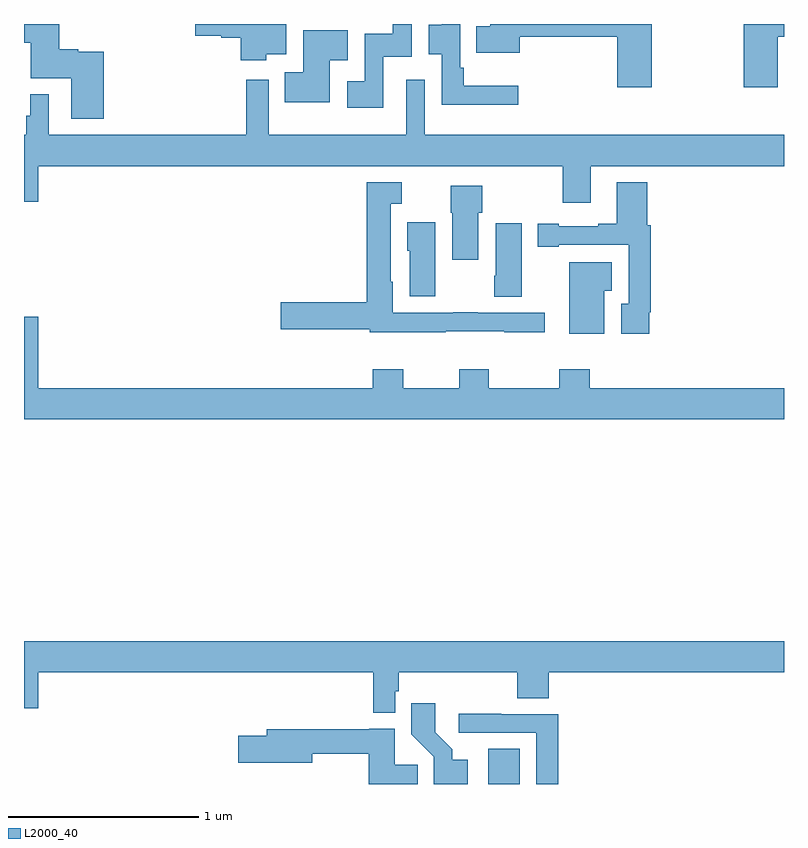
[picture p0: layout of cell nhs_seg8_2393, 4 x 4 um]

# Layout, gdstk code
import gdstk
lib = gdstk.Library(unit=1e-6, precision=1e-09)
def R(c, l, rs):  # rectangles x0, y0, x1, y1
    for r in rs: c.add(gdstk.rectangle(r[:2], r[2:], *l))
def P(c, l, *ps):  # polygons
    for p in ps: c.add(gdstk.Polygon(p, *l))
L2000_40 = (2000, 40)

nhs_seg8_2393 = lib.new_cell('nhs_seg8_2393')
R(nhs_seg8_2393, L2000_40, [(263.444,1127.9,263.608,1128.085)])
P(nhs_seg8_2393, L2000_40, [(264.305,1131.9),(263.453,1131.9),(263.453,1131.889),(263.38,1131.889),(263.38,1131.749),(263.608,1131.749),(263.608,1131.832),(264.122,1131.832),(264.122,1131.567),(264.305,1131.567)],
  [(261.419,1131.754),(261.285,1131.754),(261.285,1131.767),(261.185,1131.767),(261.185,1131.9),(261,1131.9),(261,1131.802),(261.035,1131.802),(261.035,1131.614),(261.248,1131.614),(261.248,1131.402),(261.419,1131.402)],
  [(262.276,1131.74),(262.381,1131.74),(262.381,1131.9),(261.902,1131.9),(261.902,1131.839),(262.038,1131.839),(262.038,1131.827),(262.142,1131.827),(262.142,1131.71),(262.276,1131.71)],
  [(263.602,1131.574),(263.315,1131.574),(263.315,1131.67),(263.295,1131.67),(263.295,1131.9),(263.199,1131.9),(263.199,1131.897),(263.129,1131.897),(263.129,1131.742),(263.199,1131.742),(263.199,1131.476),(263.602,1131.476)],
  [(262.89,1131.728),(263.04,1131.728),(263.04,1131.9),(262.942,1131.9),(262.942,1131.85),(262.794,1131.85),(262.794,1131.598),(262.701,1131.598),(262.701,1131.458),(262.89,1131.458)],
  [(264.966,1131.832),(265,1131.832),(265,1131.9),(264.788,1131.9),(264.788,1131.567),(264.966,1131.567)],
  [(262.609,1131.71),(262.705,1131.71),(262.705,1131.868),(262.469,1131.868),(262.469,1131.646),(262.372,1131.646),(262.372,1131.488),(262.609,1131.488)],
  [(263.983,1131.152),(265,1131.152),(265,1131.316),(263.109,1131.316),(263.109,1131.607),(263.013,1131.607),(263.013,1131.316),(262.287,1131.316),(262.287,1131.607),(262.171,1131.607),(262.171,1131.316),(261.129,1131.316),(261.129,1131.529),(261.033,1131.529),(261.033,1131.417),(261.013,1131.417),(261.013,1131.316),(261,1131.316),(261,1130.964),(261.076,1130.964),(261.076,1131.152),(263.836,1131.152),(263.836,1130.958),(263.983,1130.958)],
  [(264.292,1130.383),(264.299,1130.383),(264.299,1130.842),(264.28,1130.842),(264.28,1131.067),(264.119,1131.067),(264.119,1130.848),(264.023,1130.848),(264.023,1130.835),(263.815,1130.835),(263.815,1130.848),(263.705,1130.848),(263.705,1130.727),(263.815,1130.727),(263.815,1130.739),(264.183,1130.739),(264.183,1130.427),(264.143,1130.427),(264.143,1130.271),(264.292,1130.271)],
  [(263.221,1130.282),(263.527,1130.282),(263.527,1130.278),(263.74,1130.278),(263.74,1130.379),(263.387,1130.379),(263.387,1130.384),(263.26,1130.384),(263.26,1130.379),(262.942,1130.379),(262.942,1130.544),(262.93,1130.544),(262.93,1130.954),(262.987,1130.954),(262.987,1131.067),(262.805,1131.067),(262.805,1130.435),(262.35,1130.435),(262.35,1130.293),(262.821,1130.293),(262.821,1130.278),(263.221,1130.278)],
  [(263.392,1130.907),(263.412,1130.907),(263.412,1131.049),(263.246,1131.049),(263.246,1130.907),(263.255,1130.907),(263.255,1130.658),(263.392,1130.658)],
  [(263.164,1130.857),(263.018,1130.857),(263.018,1130.706),(263.03,1130.706),(263.03,1130.468),(263.164,1130.468)],
  [(263.62,1130.851),(263.483,1130.851),(263.483,1130.575),(263.476,1130.575),(263.476,1130.464),(263.62,1130.464)],
  [(264.055,1130.495),(264.094,1130.495),(264.094,1130.647),(263.87,1130.647),(263.87,1130.27),(264.055,1130.27)],
  [(265,1129.984),(263.978,1129.984),(263.978,1130.083),(263.818,1130.083),(263.818,1129.984),(263.445,1129.984),(263.445,1130.083),(263.29,1130.083),(263.29,1129.984),(262.995,1129.984),(262.995,1130.083),(262.835,1130.083),(262.835,1129.984),(261.076,1129.984),(261.076,1130.359),(261,1130.359),(261,1129.82),(265,1129.82)],
  [(262.953,1128.387),(262.973,1128.387),(262.973,1128.488),(263.597,1128.488),(263.597,1128.352),(263.762,1128.352),(263.762,1128.488),(265,1128.488),(265,1128.652),(261,1128.652),(261,1128.3),(261.076,1128.3),(261.076,1128.488),(262.837,1128.488),(262.837,1128.275),(262.953,1128.275)],
  [(263.335,1128.028),(263.254,1128.028),(263.254,1128.083),(263.164,1128.173),(263.164,1128.325),(263.038,1128.325),(263.038,1128.162),(263.157,1128.043),(263.157,1127.9),(263.335,1127.9)],
  [(263.813,1128.267),(263.513,1128.267),(263.513,1128.27),(263.289,1128.27),(263.289,1128.171),(263.697,1128.171),(263.697,1127.9),(263.813,1127.9)],
  [(263.072,1128.002),(262.951,1128.002),(262.951,1128.19),(262.818,1128.19),(262.818,1128.187),(262.277,1128.187),(262.277,1128.153),(262.128,1128.153),(262.128,1128.011),(262.516,1128.011),(262.516,1128.058),(262.814,1128.058),(262.814,1127.9),(263.072,1127.9)])

lib.write_gds('nhs_seg8_2393.gds')
